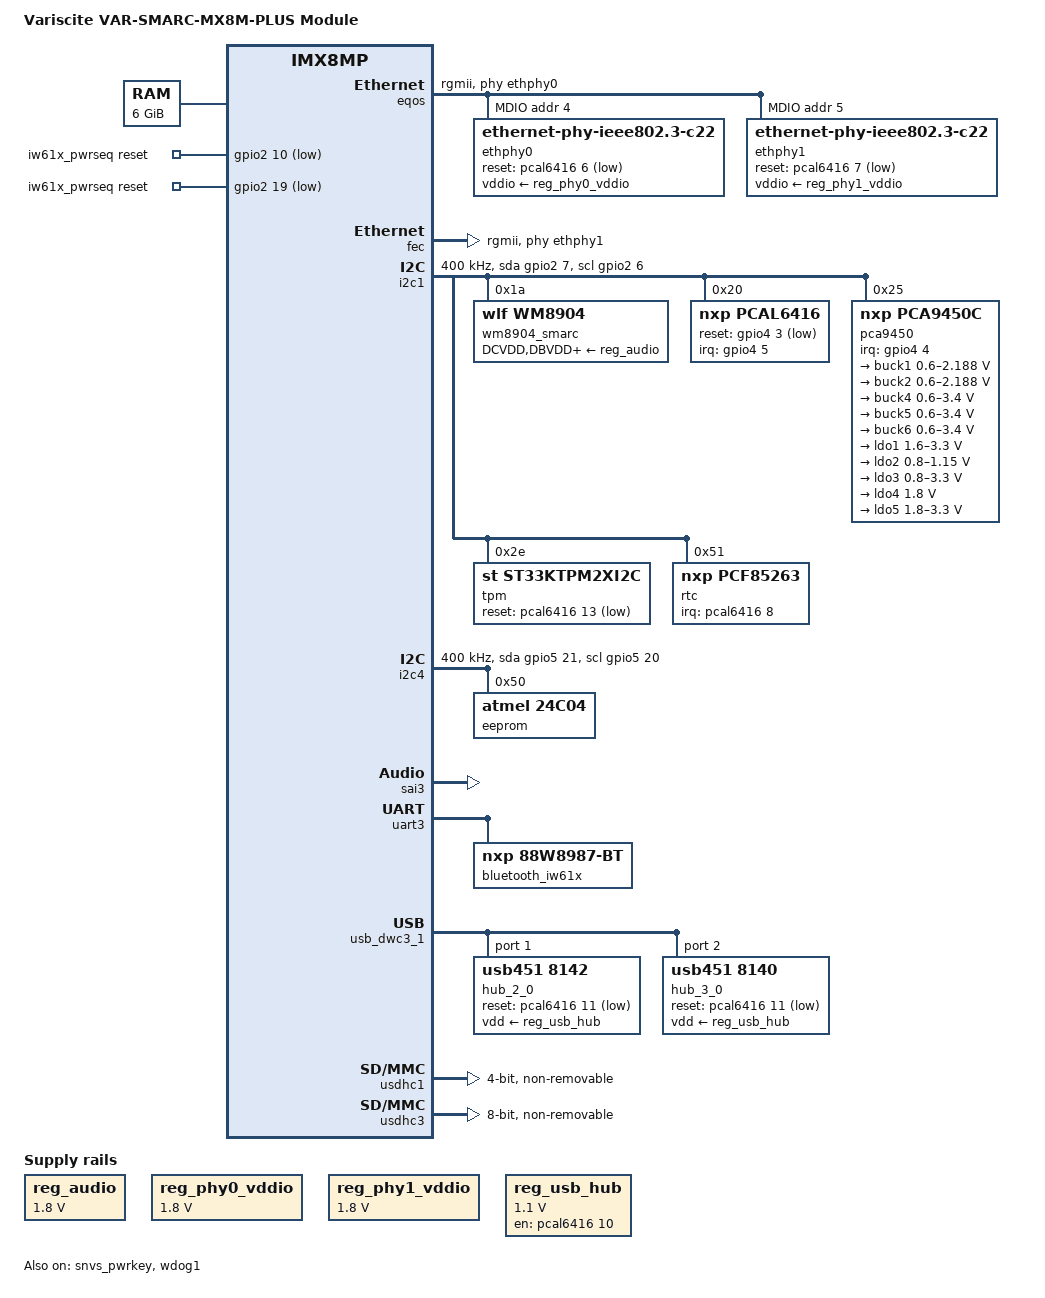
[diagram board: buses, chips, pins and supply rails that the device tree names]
// SPDX-License-Identifier: (GPL-2.0+ OR MIT)
/*
 * Common dtsi for Variscite VAR-SMARC-MX8M-PLUS
 *
 * Link: https://variscite.com/system-on-module-som/i-mx-8/i-mx-8m-plus/var-smarc-mx8m-plus/
 *
 * Copyright (C) 2026 Variscite Ltd. - https://www.variscite.com/
 *
 */

#include "imx8mp.dtsi"

/ {
	model = "Variscite VAR-SMARC-MX8M-PLUS Module";
	compatible = "variscite,var-smarc-mx8mp", "fsl,imx8mp";

	aliases {
		ethernet0 = &eqos;
		ethernet1 = &fec;
		spi1 = &ecspi1;
		spi2 = &ecspi2;
	};

	memory@40000000 {
		device_type = "memory";
		reg = <0x0 0x40000000 0 0xc0000000>,
		      <0x1 0x00000000 0 0xc0000000>;
	};

	reg_audio: regulator-audio-vdd {
		compatible = "regulator-fixed";
		regulator-name = "wm8904_smarc_supply";
		regulator-min-microvolt = <1800000>;
		regulator-max-microvolt = <1800000>;
	};

	reg_phy0_vddio: regulator-phy0-vddio {
		compatible = "regulator-fixed";
		regulator-name = "vddio_phy0_1v8";
		regulator-min-microvolt = <1800000>;
		regulator-max-microvolt = <1800000>;
	};

	reg_phy1_vddio: regulator-phy1-vddio {
		compatible = "regulator-fixed";
		regulator-name = "vddio_phy1_1v8";
		regulator-min-microvolt = <1800000>;
		regulator-max-microvolt = <1800000>;
	};

	reg_usb_hub: regulator-usb-hub {
		compatible = "regulator-fixed";
		regulator-name = "usb-hub-1v1";
		regulator-min-microvolt = <1100000>;
		regulator-max-microvolt = <1100000>;
		gpio = <&pcal6416 10 GPIO_ACTIVE_HIGH>;
		enable-active-high;
		startup-delay-us = <10000>;
	};

	sound-smarc {
		compatible = "simple-audio-card";
		simple-audio-card,bitclock-master = <&smarc_codec_dai>;
		simple-audio-card,format = "i2s";
		simple-audio-card,frame-master = <&smarc_codec_dai>;
		simple-audio-card,mclk-fs = <256>;
		simple-audio-card,name = "wm8904-audio";
		simple-audio-card,routing =
			"Headphone Jack", "HPOUTL",
			"Headphone Jack", "HPOUTR",
			"IN2L", "Line In Jack",
			"IN2R", "Line In Jack",
			"IN1L", "Microphone Jack",
			"IN1R", "Microphone Jack";
		simple-audio-card,widgets =
			"Microphone", "Microphone Jack",
			"Headphone", "Headphone Jack",
			"Line", "Line In Jack";

		smarc_codec_dai: simple-audio-card,codec {
			sound-dai = <&wm8904_smarc>;
		};

		simple-audio-card,cpu {
			sound-dai = <&sai3>;
		};
	};

	iw61x_pwrseq: wifi-pwrseq {
		compatible = "mmc-pwrseq-simple";
		pinctrl-names = "default";
		pinctrl-0 = <&pinctrl_wifi>;
		post-power-on-delay-ms = <100>;
		power-off-delay-us = <10000>;
		reset-gpios = <&gpio2 10 GPIO_ACTIVE_LOW>, /* WIFI_RESET */
			      <&gpio2 19 GPIO_ACTIVE_LOW>; /* WIFI_PWR_EN */
	};
};

&A53_0 {
	cpu-supply = <&buck2>;
};

&A53_1 {
	cpu-supply = <&buck2>;
};

&A53_2 {
	cpu-supply = <&buck2>;
};

&A53_3 {
	cpu-supply = <&buck2>;
};

&eqos {
	pinctrl-names = "default";
	pinctrl-0 = <&pinctrl_eqos>;
	/*
	 * The required RGMII TX and RX 2ns delays are implemented directly
	 * in hardware via passive delay elements on the SOM PCB.
	 * No delay configuration is needed in software via PHY driver.
	 */
	phy-mode = "rgmii";
	phy-handle = <&ethphy0>;
	status = "okay";

	mdio {
		compatible = "snps,dwmac-mdio";
		#address-cells = <1>;
		#size-cells = <0>;

		ethphy0: ethernet-phy@4 {
			compatible = "ethernet-phy-ieee802.3-c22";
			reg = <4>;
			reset-gpios = <&pcal6416 6 GPIO_ACTIVE_LOW>;
			reset-assert-us = <10000>;
			reset-deassert-us = <100000>;
			vddio-supply = <&reg_phy0_vddio>;
			ti,min-output-impedance;
			enet-phy-lane-no-swap;
		};

		ethphy1: ethernet-phy@5 {
			compatible = "ethernet-phy-ieee802.3-c22";
			reg = <5>;
			reset-gpios = <&pcal6416 7 GPIO_ACTIVE_LOW>;
			reset-assert-us = <10000>;
			reset-deassert-us = <20000>;
			vddio-supply = <&reg_phy1_vddio>;
			ti,min-output-impedance;
			enet-phy-lane-no-swap;
		};
	};
};

&fec {
	pinctrl-names = "default";
	pinctrl-0 = <&pinctrl_fec>;
	/*
	 * The required RGMII TX and RX 2ns delays are implemented directly
	 * in hardware via passive delay elements on the SOM PCB.
	 * No delay configuration is needed in software via PHY driver.
	 */
	phy-mode = "rgmii";
	phy-handle = <&ethphy1>;
	status = "okay";
};

&i2c1 {
	clock-frequency = <400000>;
	pinctrl-names = "default", "gpio";
	pinctrl-0 = <&pinctrl_i2c1>;
	pinctrl-1 = <&pinctrl_i2c1_gpio>;
	scl-gpios = <&gpio2 6 (GPIO_ACTIVE_HIGH | GPIO_OPEN_DRAIN)>;
	sda-gpios = <&gpio2 7 (GPIO_ACTIVE_HIGH | GPIO_OPEN_DRAIN)>;
	status = "okay";

	wm8904_smarc: codec@1a {
		compatible = "wlf,wm8904";
		reg = <0x1a>;
		#sound-dai-cells = <0>;
		clocks = <&audio_blk_ctrl IMX8MP_CLK_AUDIOMIX_SAI3_MCLK1>;
		clock-names = "mclk";
		DCVDD-supply = <&reg_audio>;
		DBVDD-supply = <&reg_audio>;
		AVDD-supply = <&reg_audio>;
		CPVDD-supply = <&reg_audio>;
		MICVDD-supply = <&reg_audio>;
		wlf,drc-cfg-names = "default", "peaklimiter", "tradition",
				    "soft", "music";
		/*
		 * Config registers per name, respectively:
		 * KNEE_IP = 0,   KNEE_OP = 0,     HI_COMP = 1,   LO_COMP = 1
		 * KNEE_IP = -24, KNEE_OP = -6,    HI_COMP = 1/4, LO_COMP = 1
		 * KNEE_IP = -42, KNEE_OP = -3,    HI_COMP = 0,   LO_COMP = 1
		 * KNEE_IP = -45, KNEE_OP = -9,    HI_COMP = 1/8, LO_COMP = 1
		 * KNEE_IP = -30, KNEE_OP = -10.5, HI_COMP = 1/4, LO_COMP = 1
		 */
		wlf,drc-cfg-regs = /bits/ 16 <0x01af 0x3248 0x0000 0x0000>,
				   /bits/ 16 <0x04af 0x324b 0x0010 0x0408>,
				   /bits/ 16 <0x04af 0x324b 0x0028 0x0704>,
				   /bits/ 16 <0x04af 0x324b 0x0018 0x078c>,
				   /bits/ 16 <0x04af 0x324b 0x0010 0x050e>;
		/* GPIO1 = DMIC_CLK, don't touch others */
		wlf,gpio-cfg = <0x0018>, <0xffff>, <0xffff>, <0xffff>;
		wlf,in1l-as-dmicdat1;
	};

	pcal6416: gpio@20 {
		compatible = "nxp,pcal6416";
		reg = <0x20>;
		#gpio-cells = <2>;
		gpio-controller;
		interrupt-controller;
		#interrupt-cells = <2>;
		interrupt-parent = <&gpio4>;
		interrupts = <5 IRQ_TYPE_LEVEL_LOW>;
		pinctrl-names = "default";
		pinctrl-0 = <&pinctrl_pcal6416>;
		reset-gpios = <&gpio4 3 GPIO_ACTIVE_LOW>;
	};

	pca9450: pmic@25 {
		compatible = "nxp,pca9450c";
		reg = <0x25>;
		pinctrl-names = "default";
		pinctrl-0 = <&pinctrl_pmic>;
		interrupt-parent = <&gpio4>;
		interrupts = <4 IRQ_TYPE_LEVEL_LOW>;

		regulators {
			buck1: BUCK1 {
				regulator-name = "BUCK1";
				regulator-min-microvolt = <600000>;
				regulator-max-microvolt = <2187500>;
				regulator-boot-on;
				regulator-always-on;
				regulator-ramp-delay = <3125>;
			};

			buck2: BUCK2 {
				regulator-name = "BUCK2";
				regulator-min-microvolt = <600000>;
				regulator-max-microvolt = <2187500>;
				regulator-boot-on;
				regulator-always-on;
				regulator-ramp-delay = <3125>;
				nxp,dvs-run-voltage = <950000>;
				nxp,dvs-standby-voltage = <850000>;
			};

			buck4: BUCK4 {
				regulator-name = "BUCK4";
				regulator-min-microvolt = <600000>;
				regulator-max-microvolt = <3400000>;
				regulator-boot-on;
				regulator-always-on;
			};

			buck5: BUCK5 {
				regulator-name = "BUCK5";
				regulator-min-microvolt = <600000>;
				regulator-max-microvolt = <3400000>;
				regulator-boot-on;
				regulator-always-on;
			};

			buck6: BUCK6 {
				regulator-name = "BUCK6";
				regulator-min-microvolt = <600000>;
				regulator-max-microvolt = <3400000>;
				regulator-boot-on;
				regulator-always-on;
			};

			ldo1: LDO1 {
				regulator-name = "LDO1";
				regulator-min-microvolt = <1600000>;
				regulator-max-microvolt = <3300000>;
				regulator-boot-on;
				regulator-always-on;
			};

			ldo2: LDO2 {
				regulator-name = "LDO2";
				regulator-min-microvolt = <800000>;
				regulator-max-microvolt = <1150000>;
				regulator-boot-on;
				regulator-always-on;
			};

			ldo3: LDO3 {
				regulator-name = "LDO3";
				regulator-min-microvolt = <800000>;
				regulator-max-microvolt = <3300000>;
				regulator-boot-on;
				regulator-always-on;
			};

			ldo4: LDO4 {
				regulator-name = "LDO4";
				regulator-min-microvolt = <1800000>;
				regulator-max-microvolt = <1800000>;
				regulator-always-on;
			};

			ldo5: LDO5 {
				regulator-name = "LDO5";
				regulator-min-microvolt = <1800000>;
				regulator-max-microvolt = <3300000>;
			};
		};
	};

	st33ktpm2xi2c: tpm@2e {
		compatible = "st,st33ktpm2xi2c", "tcg,tpm-tis-i2c";
		reg = <0x2e>;
		label = "tpm";
		reset-gpios = <&pcal6416 13 GPIO_ACTIVE_LOW>;
	};

	rtc@51 {
		compatible = "nxp,pcf85263";
		reg = <0x51>;
		interrupt-parent = <&pcal6416>;
		interrupts = <8 IRQ_TYPE_EDGE_FALLING>;
		wakeup-source;
	};
};

&i2c4 {
	clock-frequency = <400000>;
	pinctrl-names = "default", "gpio";
	pinctrl-0 = <&pinctrl_i2c4>;
	pinctrl-1 = <&pinctrl_i2c4_gpio>;
	scl-gpios = <&gpio5 20 (GPIO_ACTIVE_HIGH | GPIO_OPEN_DRAIN)>;
	sda-gpios = <&gpio5 21 (GPIO_ACTIVE_HIGH | GPIO_OPEN_DRAIN)>;
	status = "okay";

	eeprom@50 {
		compatible = "atmel,24c04";
		reg = <0x50>;
		pagesize = <16>;
	};
};

&sai3 {
	pinctrl-names = "default";
	pinctrl-0 = <&pinctrl_sai3>;
	assigned-clocks = <&clk IMX8MP_CLK_SAI3>;
	assigned-clock-parents = <&clk IMX8MP_AUDIO_PLL1_OUT>;
	assigned-clock-rates = <11536000>;
	clocks = <&audio_blk_ctrl IMX8MP_CLK_AUDIOMIX_SAI3_IPG>,
		 <&clk IMX8MP_CLK_DUMMY>,
		 <&audio_blk_ctrl IMX8MP_CLK_AUDIOMIX_SAI3_MCLK1>,
		 <&clk IMX8MP_CLK_DUMMY>,
		 <&clk IMX8MP_CLK_DUMMY>;
	clock-names = "bus", "mclk0", "mclk1", "mclk2", "mclk3";
	fsl,sai-mclk-direction-output;
	status = "okay";
};

&snvs_pwrkey {
	status = "okay";
};

&snvs_rtc {
	status = "disabled";
};

/* BT */
&uart3 {
	pinctrl-names = "default";
	pinctrl-0 = <&pinctrl_uart3>, <&pinctrl_bluetooth>;
	assigned-clocks = <&clk IMX8MP_CLK_UART3>;
	assigned-clock-parents = <&clk IMX8MP_SYS_PLL1_80M>;
	uart-has-rtscts;
	status = "okay";

	bluetooth_iw61x: bluetooth {
		compatible = "nxp,88w8987-bt";
	};
};

&usb_dwc3_1 {
	#address-cells = <1>;
	#size-cells = <0>;

	hub_2_0: hub@1 {
		compatible = "usb451,8142";
		reg = <1>;
		peer-hub = <&hub_3_0>;
		reset-gpios = <&pcal6416 11 GPIO_ACTIVE_LOW>;
		vdd-supply = <&reg_usb_hub>;
	};

	hub_3_0: hub@2 {
		compatible = "usb451,8140";
		reg = <2>;
		peer-hub = <&hub_2_0>;
		reset-gpios = <&pcal6416 11 GPIO_ACTIVE_LOW>;
		vdd-supply = <&reg_usb_hub>;
	};
};

/* WIFI */
&usdhc1 {
	pinctrl-names = "default", "state_100mhz", "state_200mhz";
	pinctrl-0 = <&pinctrl_usdhc1>;
	pinctrl-1 = <&pinctrl_usdhc1_100mhz>;
	pinctrl-2 = <&pinctrl_usdhc1_200mhz>;
	bus-width = <4>;
	non-removable;
	keep-power-in-suspend;
	mmc-pwrseq = <&iw61x_pwrseq>;
	status = "okay";
};

/* eMMC */
&usdhc3 {
	pinctrl-names = "default", "state_100mhz", "state_200mhz";
	pinctrl-0 = <&pinctrl_usdhc3>;
	pinctrl-1 = <&pinctrl_usdhc3_100mhz>;
	pinctrl-2 = <&pinctrl_usdhc3_200mhz>;
	bus-width = <8>;
	non-removable;
	status = "okay";
};

&wdog1 {
	pinctrl-names = "default";
	pinctrl-0 = <&pinctrl_wdog1>;
	fsl,ext-reset-output;
	status = "okay";
};

&iomuxc {
	/* Managed by user-space to enable bt correctly */
	pinctrl_bluetooth: bluetoothgrp {
		fsl,pins = <
			/* BT_EN */
			MX8MP_IOMUXC_SD1_STROBE__GPIO2_IO11				0xc0
		>;
	};

	pinctrl_eqos: eqosgrp {
		fsl,pins = <
			MX8MP_IOMUXC_ENET_MDC__ENET_QOS_MDC				0x2
			MX8MP_IOMUXC_ENET_MDIO__ENET_QOS_MDIO				0x2
			MX8MP_IOMUXC_ENET_RD0__ENET_QOS_RGMII_RD0			0x90
			MX8MP_IOMUXC_ENET_RD1__ENET_QOS_RGMII_RD1			0x90
			MX8MP_IOMUXC_ENET_RD2__ENET_QOS_RGMII_RD2			0x90
			MX8MP_IOMUXC_ENET_RD3__ENET_QOS_RGMII_RD3			0x90
			MX8MP_IOMUXC_ENET_RXC__CCM_ENET_QOS_CLOCK_GENERATE_RX_CLK	0x90
			MX8MP_IOMUXC_ENET_RX_CTL__ENET_QOS_RGMII_RX_CTL			0x90
			MX8MP_IOMUXC_ENET_TD0__ENET_QOS_RGMII_TD0			0x16
			MX8MP_IOMUXC_ENET_TD1__ENET_QOS_RGMII_TD1			0x16
			MX8MP_IOMUXC_ENET_TD2__ENET_QOS_RGMII_TD2			0x16
			MX8MP_IOMUXC_ENET_TD3__ENET_QOS_RGMII_TD3			0x16
			MX8MP_IOMUXC_ENET_TX_CTL__ENET_QOS_RGMII_TX_CTL			0x16
			MX8MP_IOMUXC_ENET_TXC__CCM_ENET_QOS_CLOCK_GENERATE_TX_CLK	0x16
		>;
	};

	pinctrl_fec: fecgrp {
		fsl,pins = <
			MX8MP_IOMUXC_SAI1_RXD4__ENET1_RGMII_RD0				0x90
			MX8MP_IOMUXC_SAI1_RXD5__ENET1_RGMII_RD1				0x90
			MX8MP_IOMUXC_SAI1_RXD6__ENET1_RGMII_RD2				0x90
			MX8MP_IOMUXC_SAI1_RXD7__ENET1_RGMII_RD3				0x90
			MX8MP_IOMUXC_SAI1_TXC__ENET1_RGMII_RXC				0x90
			MX8MP_IOMUXC_SAI1_TXFS__ENET1_RGMII_RX_CTL			0x90
			MX8MP_IOMUXC_SAI1_TXD0__ENET1_RGMII_TD0				0x00
			MX8MP_IOMUXC_SAI1_TXD1__ENET1_RGMII_TD1				0x00
			MX8MP_IOMUXC_SAI1_TXD2__ENET1_RGMII_TD2				0x00
			MX8MP_IOMUXC_SAI1_TXD3__ENET1_RGMII_TD3				0x00
			MX8MP_IOMUXC_SAI1_TXD4__ENET1_RGMII_TX_CTL			0x00
			MX8MP_IOMUXC_SAI1_TXD5__ENET1_RGMII_TXC				0x00
		>;
	};

	pinctrl_i2c1: i2c1grp {
		fsl,pins = <
			MX8MP_IOMUXC_SD1_DATA4__I2C1_SCL				0x400001c2
			MX8MP_IOMUXC_SD1_DATA5__I2C1_SDA				0x400001c2
		>;
	};

	pinctrl_i2c1_gpio: i2c1-gpiogrp {
		fsl,pins = <
			MX8MP_IOMUXC_SD1_DATA4__GPIO2_IO06				0x1c2
			MX8MP_IOMUXC_SD1_DATA5__GPIO2_IO07				0x1c2
		>;
	};

	pinctrl_i2c4: i2c4grp {
		fsl,pins = <
			MX8MP_IOMUXC_I2C4_SCL__I2C4_SCL					0x400001c2
			MX8MP_IOMUXC_I2C4_SDA__I2C4_SDA					0x400001c2
		>;
	};

	pinctrl_i2c4_gpio: i2c4-gpiogrp {
		fsl,pins = <
			MX8MP_IOMUXC_I2C4_SCL__GPIO5_IO20				0x1c2
			MX8MP_IOMUXC_I2C4_SDA__GPIO5_IO21				0x1c2
		>;
	};

	pinctrl_pcal6416: pcal6416grp {
		fsl,pins = <
			MX8MP_IOMUXC_SAI1_RXD3__GPIO4_IO05				0xc0
			MX8MP_IOMUXC_SAI1_RXD1__GPIO4_IO03				0xc0
		>;
	};

	pinctrl_pmic: pmicgrp {
		fsl,pins = <
			MX8MP_IOMUXC_SAI1_RXD2__GPIO4_IO04				0x1c0
		>;
	};

	pinctrl_sai3: sai3grp {
		fsl,pins = <
			MX8MP_IOMUXC_SAI3_TXFS__AUDIOMIX_SAI3_TX_SYNC			0xd6
			MX8MP_IOMUXC_SAI3_TXC__AUDIOMIX_SAI3_TX_BCLK			0xd6
			MX8MP_IOMUXC_SAI3_RXD__AUDIOMIX_SAI3_RX_DATA00			0xd6
			MX8MP_IOMUXC_SAI3_TXD__AUDIOMIX_SAI3_TX_DATA00			0xd6
			MX8MP_IOMUXC_SAI3_MCLK__AUDIOMIX_SAI3_MCLK			0xd6
			MX8MP_IOMUXC_SAI3_RXFS__AUDIOMIX_SAI3_RX_SYNC			0xd6
			MX8MP_IOMUXC_SAI3_RXC__AUDIOMIX_SAI3_RX_BCLK			0xd6
		>;
	};

	pinctrl_uart3: uart3grp {
		fsl,pins = <
			MX8MP_IOMUXC_ECSPI1_SCLK__UART3_DCE_RX				0x140
			MX8MP_IOMUXC_ECSPI1_MOSI__UART3_DCE_TX				0x140
			MX8MP_IOMUXC_ECSPI1_MISO__UART3_DCE_CTS				0x140
			MX8MP_IOMUXC_ECSPI1_SS0__UART3_DCE_RTS				0x140
		>;
	};

	pinctrl_usdhc1: usdhc1grp {
		fsl,pins = <
			MX8MP_IOMUXC_SD1_CLK__USDHC1_CLK				0x190
			MX8MP_IOMUXC_SD1_CMD__USDHC1_CMD				0x1d0
			MX8MP_IOMUXC_SD1_DATA0__USDHC1_DATA0				0x1d0
			MX8MP_IOMUXC_SD1_DATA1__USDHC1_DATA1				0x1d0
			MX8MP_IOMUXC_SD1_DATA2__USDHC1_DATA2				0x1d0
			MX8MP_IOMUXC_SD1_DATA3__USDHC1_DATA3				0x1d0
		>;
	};

	pinctrl_usdhc1_100mhz: usdhc1-100mhzgrp {
		fsl,pins = <
			MX8MP_IOMUXC_SD1_CLK__USDHC1_CLK				0x194
			MX8MP_IOMUXC_SD1_CMD__USDHC1_CMD				0x1d4
			MX8MP_IOMUXC_SD1_DATA0__USDHC1_DATA0				0x1d4
			MX8MP_IOMUXC_SD1_DATA1__USDHC1_DATA1				0x1d4
			MX8MP_IOMUXC_SD1_DATA2__USDHC1_DATA2				0x1d4
			MX8MP_IOMUXC_SD1_DATA3__USDHC1_DATA3				0x1d4
		>;
	};

	pinctrl_usdhc1_200mhz: usdhc1-200mhzgrp {
		fsl,pins = <
			MX8MP_IOMUXC_SD1_CLK__USDHC1_CLK				0x196
			MX8MP_IOMUXC_SD1_CMD__USDHC1_CMD				0x1d6
			MX8MP_IOMUXC_SD1_DATA0__USDHC1_DATA0				0x1d6
			MX8MP_IOMUXC_SD1_DATA1__USDHC1_DATA1				0x1d6
			MX8MP_IOMUXC_SD1_DATA2__USDHC1_DATA2				0x1d6
			MX8MP_IOMUXC_SD1_DATA3__USDHC1_DATA3				0x1d6
		>;
	};

	pinctrl_usdhc3: usdhc3grp {
		fsl,pins = <
			MX8MP_IOMUXC_NAND_WE_B__USDHC3_CLK				0x190
			MX8MP_IOMUXC_NAND_WP_B__USDHC3_CMD				0x1d0
			MX8MP_IOMUXC_NAND_DATA04__USDHC3_DATA0				0x1d0
			MX8MP_IOMUXC_NAND_DATA05__USDHC3_DATA1				0x1d0
			MX8MP_IOMUXC_NAND_DATA06__USDHC3_DATA2				0x1d0
			MX8MP_IOMUXC_NAND_DATA07__USDHC3_DATA3				0x1d0
			MX8MP_IOMUXC_NAND_RE_B__USDHC3_DATA4				0x1d0
			MX8MP_IOMUXC_NAND_CE2_B__USDHC3_DATA5				0x1d0
			MX8MP_IOMUXC_NAND_CE3_B__USDHC3_DATA6				0x1d0
			MX8MP_IOMUXC_NAND_CLE__USDHC3_DATA7				0x1d0
			MX8MP_IOMUXC_NAND_CE1_B__USDHC3_STROBE				0x190
		>;
	};

	pinctrl_usdhc3_100mhz: usdhc3-100mhzgrp {
		fsl,pins = <
			MX8MP_IOMUXC_NAND_WE_B__USDHC3_CLK				0x194
			MX8MP_IOMUXC_NAND_WP_B__USDHC3_CMD				0x1d4
			MX8MP_IOMUXC_NAND_DATA04__USDHC3_DATA0				0x1d4
			MX8MP_IOMUXC_NAND_DATA05__USDHC3_DATA1				0x1d4
			MX8MP_IOMUXC_NAND_DATA06__USDHC3_DATA2				0x1d4
			MX8MP_IOMUXC_NAND_DATA07__USDHC3_DATA3				0x1d4
			MX8MP_IOMUXC_NAND_RE_B__USDHC3_DATA4				0x1d4
			MX8MP_IOMUXC_NAND_CE2_B__USDHC3_DATA5				0x1d4
			MX8MP_IOMUXC_NAND_CE3_B__USDHC3_DATA6				0x1d4
			MX8MP_IOMUXC_NAND_CLE__USDHC3_DATA7				0x1d4
			MX8MP_IOMUXC_NAND_CE1_B__USDHC3_STROBE				0x194
		>;
	};

	pinctrl_usdhc3_200mhz: usdhc3-200mhzgrp {
		fsl,pins = <
			MX8MP_IOMUXC_NAND_WE_B__USDHC3_CLK				0x196
			MX8MP_IOMUXC_NAND_WP_B__USDHC3_CMD				0x1d6
			MX8MP_IOMUXC_NAND_DATA04__USDHC3_DATA0				0x1d6
			MX8MP_IOMUXC_NAND_DATA05__USDHC3_DATA1				0x1d6
			MX8MP_IOMUXC_NAND_DATA06__USDHC3_DATA2				0x1d6
			MX8MP_IOMUXC_NAND_DATA07__USDHC3_DATA3				0x1d6
			MX8MP_IOMUXC_NAND_RE_B__USDHC3_DATA4				0x1d6
			MX8MP_IOMUXC_NAND_CE2_B__USDHC3_DATA5				0x1d6
			MX8MP_IOMUXC_NAND_CE3_B__USDHC3_DATA6				0x1d6
			MX8MP_IOMUXC_NAND_CLE__USDHC3_DATA7				0x1d6
			MX8MP_IOMUXC_NAND_CE1_B__USDHC3_STROBE				0x196
		>;
	};

	pinctrl_wdog1: wdog1grp {
		fsl,pins = <
			MX8MP_IOMUXC_GPIO1_IO02__WDOG1_WDOG_B				0xc6
		>;
	};

	pinctrl_wifi: wifigrp {
		fsl,pins = <
			/* WIFI_EN  */
			MX8MP_IOMUXC_SD1_RESET_B__GPIO2_IO10				0xc0
			/* WIFI_PWR */
			MX8MP_IOMUXC_SD2_RESET_B__GPIO2_IO19				0xc0
		>;
	};
};
